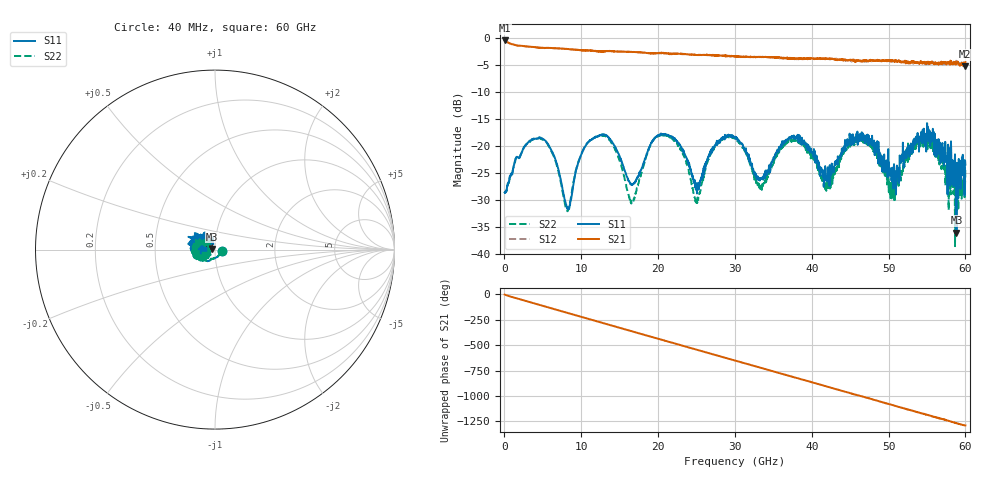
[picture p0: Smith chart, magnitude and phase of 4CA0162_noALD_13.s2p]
! File created by 'SoftPlot +Plus+ Measurement Management Software'
! SoftPlot +Plus+ Measurement Management Software
! Start 40.000000 MHz  Stop 60.000000 GHz  Points 1601
# MHZ S RI R 50
! S-Parameter data, F S11 S21 S12 S22
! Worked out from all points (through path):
!   1601 points, 40 MHz to 60 GHz, reference 50 ohm
!   highest |S21| = -0.36 dB at 40 MHz (marker M1); lowest = -5.2 dB at 59.89 GHz (marker M2)
!   group delay of S21, straight-line fit = 59.5 ps
!   lowest |S11| = -36.0 dB at 58.84 GHz (marker M3), VSWR 1.03, Z = 48.5 + j0.273 ohm
!   |S11| at or under -10 dB: start of sweep to end of sweep
!   |S22| runs from -38.5 to -17.8 dB; largest |S21 - S12| = 0.061
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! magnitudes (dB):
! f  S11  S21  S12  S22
! 40 MHz  -28.5  -0.4  -0.4  -28.4
! 4.724 GHz  -18.4  -1.7  -1.7  -18.5
! 6.486 GHz  -21.8  -1.8  -1.8  -22.0
! 8.21 GHz  -31.4  -1.9  -1.9  -32.0
! 10.05 GHz  -21.5  -2.2  -2.2  -21.3
! 13.42 GHz  -18.1  -2.4  -2.3  -18.4
! 16.6 GHz  -27.2  -2.5  -2.5  -30.3
! 20.05 GHz  -18.0  -2.7  -2.7  -18.0
! 22.9 GHz  -19.9  -2.8  -2.8  -20.4
! 25.04 GHz  -27.4  -3.0  -3.1  -30.4
! 27.32 GHz  -20.1  -3.1  -3.1  -20.2
! 30.02 GHz  -18.3  -3.3  -3.2  -18.6
! 33.36 GHz  -25.9  -3.4  -3.4  -27.3
! 36.95 GHz  -18.6  -3.6  -3.7  -19.2
! 40.03 GHz  -20.9  -3.7  -3.8  -21.7
! 42.2 GHz  -25.7  -3.7  -3.8  -27.6
! 46.73 GHz  -18.0  -4.2  -4.1  -19.3
! 50.03 GHz  -22.9  -4.0  -4.1  -28.5
! 54.49 GHz  -18.6  -4.5  -4.7  -18.4
! 58.84 GHz  -36.0  -4.5  -4.6  -28.0
! 59.89 GHz  -29.1  -5.2  -4.7  -29.4
! 60 GHz  -23.4  -4.4  -5.0  -24.0
